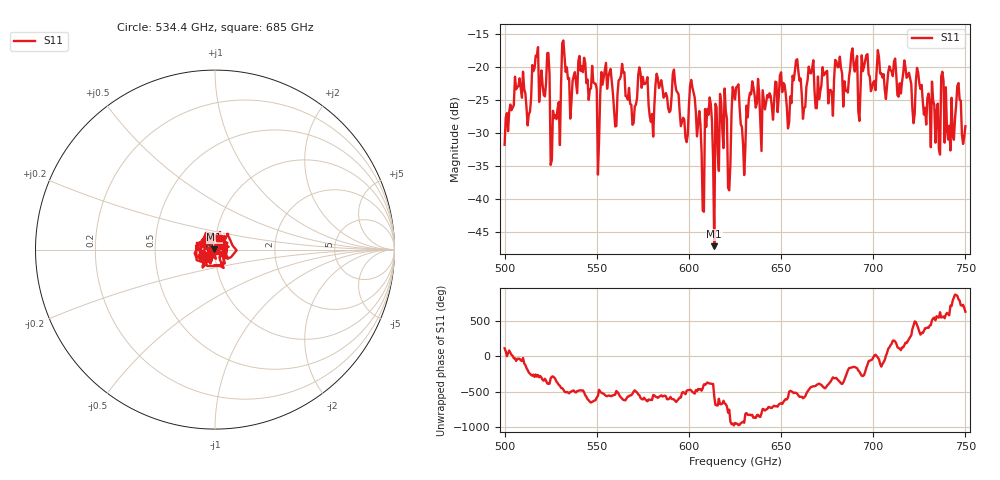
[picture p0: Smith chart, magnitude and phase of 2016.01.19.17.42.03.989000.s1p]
!Created with skrf (http://scikit-rf.org).
# GHz S RI R 50.0
!freq ReS11 ImS11
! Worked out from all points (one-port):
!   401 points, 500 GHz to 750 GHz, reference 50 ohm
!   lowest |S11| = -47.2 dB at 613.8 GHz (marker M1), VSWR 1.01, Z = 49.6 + j0.205 ohm
!   |S11| at or under -10 dB: start of sweep to end of sweep
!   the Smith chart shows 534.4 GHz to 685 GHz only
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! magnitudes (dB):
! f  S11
! 500 GHz  -31.8
! 506.9 GHz  -23.0
! 513.1 GHz  -27.1
! 516.9 GHz  -18.2
! 523.1 GHz  -17.9
! 526.2 GHz  -26.6
! 531.2 GHz  -16.4
! 541.9 GHz  -19.9
! 550.6 GHz  -36.3
! 553.8 GHz  -21.5
! 560 GHz  -29.0
! 562.5 GHz  -21.8
! 579.4 GHz  -28.3
! 593.8 GHz  -23.8
! 598.1 GHz  -30.7
! 601.9 GHz  -23.0
! 606.9 GHz  -33.0
! 610 GHz  -26.3
! 613.8 GHz  -47.2
! 618.1 GHz  -29.5
! 621.9 GHz  -38.7
! 625 GHz  -24.9
! 629.4 GHz  -31.7
! 633.8 GHz  -24.1
! 656.2 GHz  -21.3
! 687.5 GHz  -20.1
! 718.8 GHz  -21.3
! 750 GHz  -28.9
